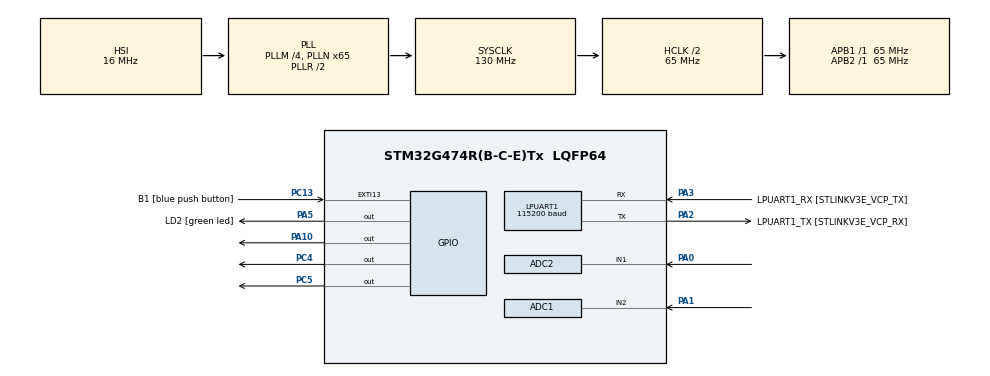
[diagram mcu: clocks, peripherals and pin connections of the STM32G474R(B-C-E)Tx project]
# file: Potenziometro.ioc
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ADC1.Channel-0\#ChannelRegularConversion=ADC_CHANNEL_2
ADC1.NbrOfConversionFlag=1
ADC1.OffsetNumber-0\#ChannelRegularConversion=ADC_OFFSET_NONE
ADC1.Rank-0\#ChannelRegularConversion=1
ADC1.SamplingTime-0\#ChannelRegularConversion=ADC_SAMPLETIME_2CYCLES_5
ADC1.master=1
ADC2.Channel-1\#ChannelRegularConversion=ADC_CHANNEL_1
ADC2.NbrOfConversionFlag=1
ADC2.OffsetNumber-1\#ChannelRegularConversion=ADC_OFFSET_NONE
ADC2.Rank-1\#ChannelRegularConversion=1
ADC2.SamplingTime-1\#ChannelRegularConversion=ADC_SAMPLETIME_2CYCLES_5
LPUART1.BaudRate=115200
LPUART1.WordLength=UART_WORDLENGTH_8B
Mcu.Family=STM32G4
Mcu.Name=STM32G474R(B-C-E)Tx
Mcu.Package=LQFP64
NVIC.EXTI15_10_IRQn=true\:0\:0\:false\:false\:true\:true\:true\:true
NVIC.PriorityGroup=NVIC_PRIORITYGROUP_4
NVIC.TIM1_TRG_COM_TIM17_IRQn=true\:0\:0\:false\:false\:true\:true\:true\:true
NVIC.TIM1_UP_TIM16_IRQn=true\:0\:0\:false\:false\:true\:true\:true\:true
PA0.Mode=IN1-Single-Ended
PA0.Signal=ADC2_IN1
PA1.Mode=IN2-Single-Ended
PA1.Signal=ADC1_IN2
PA10.Signal=GPIO_Output
PA13.GPIO_Label=T_SWDIO
PA13.Mode=Serial_Wire
PA13.Signal=SYS_JTMS-SWDIO
PA14.GPIO_Label=T_SWCLK
PA14.Mode=Serial_Wire
PA14.Signal=SYS_JTCK-SWCLK
PA2.GPIO_Label=LPUART1_TX [STLINKV3E_VCP_RX]
PA2.Mode=Asynchronous
PA2.Signal=LPUART1_TX
PA3.GPIO_Label=LPUART1_RX [STLINKV3E_VCP_TX]
PA3.Mode=Asynchronous
PA3.Signal=LPUART1_RX
PA5.GPIO_Label=LD2 [green led]
PA5.Signal=GPIO_Output
PB3.GPIO_Label=T_SWO
PB3.Signal=SYS_JTDO-SWO
PC13.GPIO_Label=B1 [blue push button]
PC13.Signal=GPXTI13
PC14-OSC32_IN.Mode=LSE-External-Oscillator
PC14-OSC32_IN.Signal=RCC_OSC32_IN
PC15-OSC32_OUT.Mode=LSE-External-Oscillator
PC15-OSC32_OUT.Signal=RCC_OSC32_OUT
PC4.Signal=GPIO_Output
PC5.Signal=GPIO_Output
PF0-OSC_IN.Mode=HSE-External-Oscillator
PF0-OSC_IN.Signal=RCC_OSC_IN
PF1-OSC_OUT.Mode=HSE-External-Oscillator
PF1-OSC_OUT.Signal=RCC_OSC_OUT
ProjectManager.HeapSize=0x200
ProjectManager.StackSize=0x400
ProjectManager.TargetToolchain=STM32CubeIDE
RCC.ADC12Freq_Value=130000000
RCC.ADC345Freq_Value=130000000
RCC.AHBCLKDivider=RCC_SYSCLK_DIV2
RCC.AHBFreq_Value=65000000
RCC.APB1Freq_Value=65000000
RCC.APB1TimFreq_Value=65000000
RCC.APB2Freq_Value=65000000
RCC.APB2TimFreq_Value=65000000
RCC.CortexFreq_Value=65000000
RCC.EXTERNAL_CLOCK_VALUE=12288000
RCC.HCLKFreq_Value=65000000
RCC.HSE_VALUE=24000000
RCC.HSI48_VALUE=48000000
RCC.HSI_VALUE=16000000
RCC.PLLM=RCC_PLLM_DIV4
RCC.PLLN=65
RCC.RTCClockSelection=RCC_RTCCLKSOURCE_LSE
RCC.SYSCLKFreq_VALUE=130000000
RCC.SYSCLKSource=RCC_SYSCLKSOURCE_PLLCLK
RCC.USBFreq_Value=130000000
RCC.VCOOutputFreq_Value=260000000
TIM16.PeriodNoDither=349
TIM16.Prescaler=64999
TIM17.PeriodNoDither=199
TIM17.Prescaler=64999
VP_SYS_VS_DBSignals.Mode=DisableDeadBatterySignals
VP_TIM16_VS_ClockSourceINT.Mode=Enable_Timer
VP_TIM17_VS_ClockSourceINT.Mode=Enable_Timer
board=NUCLEO-G474RE

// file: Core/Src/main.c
/* USER CODE BEGIN Header */
/**
 ******************************************************************************
 * @file           : main.c
 * @brief          : Main program body
 ******************************************************************************
 * @attention
 *
 * Copyright (c) 2022 STMicroelectronics.
 * All rights reserved.
 *
 * This software is licensed under terms that can be found in the LICENSE file
 * in the root directory of this software component.
 * If no LICENSE file comes with this software, it is provided AS-IS.
 *
 ******************************************************************************
 */
/* USER CODE END Header */
#include "main.h"
#include <stdio.h>
#include <string.h>

ADC_HandleTypeDef hadc1;
ADC_HandleTypeDef hadc2;

UART_HandleTypeDef hlpuart1;

TIM_HandleTypeDef htim16;
TIM_HandleTypeDef htim17;

/* USER CODE BEGIN PV */
uint16_t interrupt = 2;
uint16_t sensorCount = 2;
uint16_t voltageCount = 2;
enum VoltageState {
	UNKNOWN, OVERVOLTAGE, UNDERVOLTAGE, SAFESTATE,
};
enum VoltageState currState = UNKNOWN;

/* USER CODE END PV */

void SystemClock_Config(void);
static void MX_GPIO_Init(void);
static void MX_LPUART1_UART_Init(void);
static void MX_ADC1_Init(void);
static void MX_TIM16_Init(void);
static void MX_ADC2_Init(void);
static void MX_TIM17_Init(void);
/* USER CODE BEGIN PFP */
void sensor();
void unknown();
void safestate();
void undervoltage();
void overvoltage();
/* USER CODE END PFP */

int main(void) {
	/* USER CODE BEGIN 1 */
	uint8_t MSG4[] =
			"Board in waiting state - please press the emergency button\r\n";
	/* USER CODE END 1 */

	/* MCU Configuration--------------------------------------------------------*/

	/* Reset of all peripherals, Initializes the Flash interface and the Systick. */
	HAL_Init();

	/* Configure the system clock */
	SystemClock_Config();

	/* Initialize all configured peripherals */
	MX_GPIO_Init();
	MX_LPUART1_UART_Init();
	MX_ADC1_Init();
	MX_TIM16_Init();
	MX_ADC2_Init();
	MX_TIM17_Init();
	/* USER CODE BEGIN 2 */
	HAL_TIM_Base_Start_IT(&htim16);
	HAL_TIM_Base_Start_IT(&htim17);

	/* USER CODE END 2 */

	/* Infinite loop */
	while (1) {

		/* USER CODE BEGIN 3 */

		// Waiting state
		if (interrupt % 2 != (uint16_t) 0) {
			HAL_GPIO_WritePin(GPIOC, GPIO_PIN_4, GPIO_PIN_RESET);
			HAL_GPIO_WritePin(GPIOC, GPIO_PIN_5, GPIO_PIN_RESET);
			HAL_UART_Transmit(&hlpuart1, MSG4, sizeof(MSG4), 1000);
			HAL_Delay(500);
		}
		// Running state
		switch (currState) {
		case UNKNOWN:
			unknown();
			break;
		case SAFESTATE:
			safestate();
			break;
		case UNDERVOLTAGE:
			undervoltage();
			break;
		case OVERVOLTAGE:
			overvoltage();
			break;
		}
		sensor();
	}
}
/* USER CODE END 3 */

void SystemClock_Config(void) {
	RCC_OscInitTypeDef RCC_OscInitStruct = { 0 };
	RCC_ClkInitTypeDef RCC_ClkInitStruct = { 0 };

	/** Configure the main internal regulator output voltage
	 */
	HAL_PWREx_ControlVoltageScaling(PWR_REGULATOR_VOLTAGE_SCALE1);

	/** Initializes the RCC Oscillators according to the specified parameters
	 * in the RCC_OscInitTypeDef structure.
	 */
	RCC_OscInitStruct.OscillatorType = RCC_OSCILLATORTYPE_HSI;
	RCC_OscInitStruct.HSIState = RCC_HSI_ON;
	RCC_OscInitStruct.HSICalibrationValue = RCC_HSICALIBRATION_DEFAULT;
	RCC_OscInitStruct.PLL.PLLState = RCC_PLL_ON;
	RCC_OscInitStruct.PLL.PLLSource = RCC_PLLSOURCE_HSI;
	RCC_OscInitStruct.PLL.PLLM = RCC_PLLM_DIV4;
	RCC_OscInitStruct.PLL.PLLN = 65;
	RCC_OscInitStruct.PLL.PLLP = RCC_PLLP_DIV2;
	RCC_OscInitStruct.PLL.PLLQ = RCC_PLLQ_DIV2;
	RCC_OscInitStruct.PLL.PLLR = RCC_PLLR_DIV2;
	if (HAL_RCC_OscConfig(&RCC_OscInitStruct) != HAL_OK) {
		Error_Handler();
	}

	/** Initializes the CPU, AHB and APB buses clocks
	 */
	RCC_ClkInitStruct.ClockType = RCC_CLOCKTYPE_HCLK | RCC_CLOCKTYPE_SYSCLK
			| RCC_CLOCKTYPE_PCLK1 | RCC_CLOCKTYPE_PCLK2;
	RCC_ClkInitStruct.SYSCLKSource = RCC_SYSCLKSOURCE_PLLCLK;
	RCC_ClkInitStruct.AHBCLKDivider = RCC_SYSCLK_DIV2;
	RCC_ClkInitStruct.APB1CLKDivider = RCC_HCLK_DIV1;
	RCC_ClkInitStruct.APB2CLKDivider = RCC_HCLK_DIV1;

	if (HAL_RCC_ClockConfig(&RCC_ClkInitStruct, FLASH_LATENCY_2) != HAL_OK) {
		Error_Handler();
	}
}

static void MX_ADC1_Init(void) {

	ADC_MultiModeTypeDef multimode = { 0 };
	ADC_ChannelConfTypeDef sConfig = { 0 };

	/** Common config
	 */
	hadc1.Instance = ADC1;
	hadc1.Init.ClockPrescaler = ADC_CLOCK_SYNC_PCLK_DIV2;
	hadc1.Init.Resolution = ADC_RESOLUTION_12B;
	hadc1.Init.DataAlign = ADC_DATAALIGN_RIGHT;
	hadc1.Init.GainCompensation = 0;
	hadc1.Init.ScanConvMode = ADC_SCAN_DISABLE;
	hadc1.Init.EOCSelection = ADC_EOC_SINGLE_CONV;
	hadc1.Init.LowPowerAutoWait = DISABLE;
	hadc1.Init.ContinuousConvMode = DISABLE;
	hadc1.Init.NbrOfConversion = 1;
	hadc1.Init.DiscontinuousConvMode = DISABLE;
	hadc1.Init.ExternalTrigConv = ADC_SOFTWARE_START;
	hadc1.Init.ExternalTrigConvEdge = ADC_EXTERNALTRIGCONVEDGE_NONE;
	hadc1.Init.DMAContinuousRequests = DISABLE;
	hadc1.Init.Overrun = ADC_OVR_DATA_PRESERVED;
	hadc1.Init.OversamplingMode = DISABLE;
	if (HAL_ADC_Init(&hadc1) != HAL_OK) {
		Error_Handler();
	}

	/** Configure the ADC multi-mode
	 */
	multimode.Mode = ADC_MODE_INDEPENDENT;
	if (HAL_ADCEx_MultiModeConfigChannel(&hadc1, &multimode) != HAL_OK) {
		Error_Handler();
	}

	/** Configure Regular Channel
	 */
	sConfig.Channel = ADC_CHANNEL_2;
	sConfig.Rank = ADC_REGULAR_RANK_1;
	sConfig.SamplingTime = ADC_SAMPLETIME_2CYCLES_5;
	sConfig.SingleDiff = ADC_SINGLE_ENDED;
	sConfig.OffsetNumber = ADC_OFFSET_NONE;
	sConfig.Offset = 0;
	if (HAL_ADC_ConfigChannel(&hadc1, &sConfig) != HAL_OK) {
		Error_Handler();
	}

}

static void MX_ADC2_Init(void) {

	ADC_ChannelConfTypeDef sConfig = { 0 };

	/** Common config
	 */
	hadc2.Instance = ADC2;
	hadc2.Init.ClockPrescaler = ADC_CLOCK_SYNC_PCLK_DIV2;
	hadc2.Init.Resolution = ADC_RESOLUTION_12B;
	hadc2.Init.DataAlign = ADC_DATAALIGN_RIGHT;
	hadc2.Init.GainCompensation = 0;
	hadc2.Init.ScanConvMode = ADC_SCAN_DISABLE;
	hadc2.Init.EOCSelection = ADC_EOC_SINGLE_CONV;
	hadc2.Init.LowPowerAutoWait = DISABLE;
	hadc2.Init.ContinuousConvMode = DISABLE;
	hadc2.Init.NbrOfConversion = 1;
	hadc2.Init.DiscontinuousConvMode = DISABLE;
	hadc2.Init.ExternalTrigConv = ADC_SOFTWARE_START;
	hadc2.Init.ExternalTrigConvEdge = ADC_EXTERNALTRIGCONVEDGE_NONE;
	hadc2.Init.DMAContinuousRequests = DISABLE;
	hadc2.Init.Overrun = ADC_OVR_DATA_PRESERVED;
	hadc2.Init.OversamplingMode = DISABLE;
	if (HAL_ADC_Init(&hadc2) != HAL_OK) {
		Error_Handler();
	}

	/** Configure Regular Channel
	 */
	sConfig.Channel = ADC_CHANNEL_1;
	sConfig.Rank = ADC_REGULAR_RANK_1;
	sConfig.SamplingTime = ADC_SAMPLETIME_2CYCLES_5;
	sConfig.SingleDiff = ADC_SINGLE_ENDED;
	sConfig.OffsetNumber = ADC_OFFSET_NONE;
	sConfig.Offset = 0;
	if (HAL_ADC_ConfigChannel(&hadc2, &sConfig) != HAL_OK) {
		Error_Handler();
	}

}

static void MX_LPUART1_UART_Init(void) {

	hlpuart1.Instance = LPUART1;
	hlpuart1.Init.BaudRate = 115200;
	hlpuart1.Init.WordLength = UART_WORDLENGTH_8B;
	hlpuart1.Init.StopBits = UART_STOPBITS_1;
	hlpuart1.Init.Parity = UART_PARITY_NONE;
	hlpuart1.Init.Mode = UART_MODE_TX_RX;
	hlpuart1.Init.HwFlowCtl = UART_HWCONTROL_NONE;
	hlpuart1.Init.OneBitSampling = UART_ONE_BIT_SAMPLE_DISABLE;
	hlpuart1.Init.ClockPrescaler = UART_PRESCALER_DIV1;
	hlpuart1.AdvancedInit.AdvFeatureInit = UART_ADVFEATURE_NO_INIT;
	if (HAL_UART_Init(&hlpuart1) != HAL_OK) {
		Error_Handler();
	}
	if (HAL_UARTEx_SetTxFifoThreshold(&hlpuart1, UART_TXFIFO_THRESHOLD_1_8)
			!= HAL_OK) {
		Error_Handler();
	}
	if (HAL_UARTEx_SetRxFifoThreshold(&hlpuart1, UART_RXFIFO_THRESHOLD_1_8)
			!= HAL_OK) {
		Error_Handler();
	}
	if (HAL_UARTEx_DisableFifoMode(&hlpuart1) != HAL_OK) {
		Error_Handler();
	}

}

static void MX_TIM16_Init(void) {

	htim16.Instance = TIM16;
	htim16.Init.Prescaler = 64999;
	htim16.Init.CounterMode = TIM_COUNTERMODE_UP;
	htim16.Init.Period = 349;
	htim16.Init.ClockDivision = TIM_CLOCKDIVISION_DIV1;
	htim16.Init.RepetitionCounter = 0;
	htim16.Init.AutoReloadPreload = TIM_AUTORELOAD_PRELOAD_DISABLE;
	if (HAL_TIM_Base_Init(&htim16) != HAL_OK) {
		Error_Handler();
	}

}

static void MX_TIM17_Init(void) {

	htim17.Instance = TIM17;
	htim17.Init.Prescaler = 64999;
	htim17.Init.CounterMode = TIM_COUNTERMODE_UP;
	htim17.Init.Period = 199;
	htim17.Init.ClockDivision = TIM_CLOCKDIVISION_DIV1;
	htim17.Init.RepetitionCounter = 0;
	htim17.Init.AutoReloadPreload = TIM_AUTORELOAD_PRELOAD_DISABLE;
	if (HAL_TIM_Base_Init(&htim17) != HAL_OK) {
		Error_Handler();
	}

}

static void MX_GPIO_Init(void) {
	GPIO_InitTypeDef GPIO_InitStruct = { 0 };

	/* GPIO Ports Clock Enable */
	__HAL_RCC_GPIOC_CLK_ENABLE();
	__HAL_RCC_GPIOF_CLK_ENABLE();
	__HAL_RCC_GPIOA_CLK_ENABLE();
	__HAL_RCC_GPIOB_CLK_ENABLE();

	/*Configure GPIO pin Output Level */
	HAL_GPIO_WritePin(GPIOA, LD2_Pin | GPIO_PIN_10, GPIO_PIN_RESET);

	/*Configure GPIO pin Output Level */
	HAL_GPIO_WritePin(GPIOC, GPIO_PIN_4 | GPIO_PIN_5, GPIO_PIN_RESET);

	/*Configure GPIO pin : B1_Pin */
	GPIO_InitStruct.Pin = B1_Pin;
	GPIO_InitStruct.Mode = GPIO_MODE_IT_RISING;
	GPIO_InitStruct.Pull = GPIO_NOPULL;
	HAL_GPIO_Init(B1_GPIO_Port, &GPIO_InitStruct);

	/*Configure GPIO pins : LD2_Pin PA10 */
	GPIO_InitStruct.Pin = LD2_Pin | GPIO_PIN_10;
	GPIO_InitStruct.Mode = GPIO_MODE_OUTPUT_PP;
	GPIO_InitStruct.Pull = GPIO_NOPULL;
	GPIO_InitStruct.Speed = GPIO_SPEED_FREQ_LOW;
	HAL_GPIO_Init(GPIOA, &GPIO_InitStruct);

	/*Configure GPIO pins : PC4 PC5 */
	GPIO_InitStruct.Pin = GPIO_PIN_4 | GPIO_PIN_5;
	GPIO_InitStruct.Mode = GPIO_MODE_OUTPUT_PP;
	GPIO_InitStruct.Pull = GPIO_NOPULL;
	GPIO_InitStruct.Speed = GPIO_SPEED_FREQ_LOW;
	HAL_GPIO_Init(GPIOC, &GPIO_InitStruct);

	/* EXTI interrupt init*/
	HAL_NVIC_SetPriority(EXTI15_10_IRQn, 0, 0);
	HAL_NVIC_EnableIRQ(EXTI15_10_IRQn);

}

/* USER CODE BEGIN 4 */
uint8_t MSG1[] = "Warning!: Undervoltage (Led 4 ON) \r\n";
uint8_t MSG2[] = "Warning!: Overvoltage (Led 5 ON) \r\n";
uint8_t MSG3[] = "Warning!: Sensor value out of range \r\n";
char msg[50];
char msg2[50];
uint16_t led_time = 0;
void unknown() {
	// Check voltage every 350ms
	if (voltageCount % 2 != (uint16_t) 0) {
		voltageCount++;
		HAL_ADC_Start(&hadc1);
		// Poll ADC1 Perihperal
		HAL_ADC_PollForConversion(&hadc1, 200);
		// Read The ADC potentiometer value
		uint16_t rawVoltage = HAL_ADC_GetValue(&hadc1);
		float valueVoltage = (rawVoltage * 3.3) / 4096;
		sprintf(msg2, "(%lu) System Voltage: %f\r\n", HAL_GetTick() / 10,
				valueVoltage);
		HAL_UART_Transmit(&hlpuart1, (uint8_t*) msg2, strlen(msg2), 1000);

		if (valueVoltage < 2.7 && valueVoltage > 1.8) {

			currState = SAFESTATE;

		}
		if (valueVoltage <= 1.8) {
			HAL_UART_Transmit(&hlpuart1, MSG1, sizeof(MSG1), 1000);
			currState = UNDERVOLTAGE;

		}
		if (valueVoltage >= 2.7) {
			HAL_UART_Transmit(&hlpuart1, MSG2, sizeof(MSG2), 1000);
			currState = OVERVOLTAGE;
		}
	}
}
void safestate() {
	HAL_GPIO_WritePin(GPIOC, GPIO_PIN_4, GPIO_PIN_RESET);
	HAL_GPIO_WritePin(GPIOC, GPIO_PIN_5, GPIO_PIN_RESET);
	currState = UNKNOWN;
}
void undervoltage() {
	HAL_GPIO_WritePin(GPIOC, GPIO_PIN_4, GPIO_PIN_SET);
	HAL_GPIO_WritePin(GPIOC, GPIO_PIN_5, GPIO_PIN_RESET);
	currState = UNKNOWN;
}
void overvoltage() {
	HAL_GPIO_WritePin(GPIOC, GPIO_PIN_4, GPIO_PIN_RESET);
	HAL_GPIO_WritePin(GPIOC, GPIO_PIN_5, GPIO_PIN_SET);
	currState = UNKNOWN;
}
void sensor() {
	// Check sensor every 200ms
	if (sensorCount % 2 != (uint16_t) 0) {
		sensorCount++;
		HAL_ADC_Start(&hadc2);
		// Poll ADC2 Sensor
		HAL_ADC_PollForConversion(&hadc2, 200);
		// Read The ADC sensor value
		uint16_t rawSensor = HAL_ADC_GetValue(&hadc2);
		float valueSensor = (rawSensor * 3.3) / 4096.0;
		float Magneticvalue = (valueSensor - (3.3 / 2.0));
		Magneticvalue = (Magneticvalue * 1000) / 1.6;
		if (Magneticvalue > -1000 && Magneticvalue < 1000) {
			sprintf(msg, "(%lu) Magnetic field: %f\r\n", HAL_GetTick() / 10,
					Magneticvalue);
			HAL_UART_Transmit(&hlpuart1, (uint8_t*) msg, strlen(msg), 1000);
		} else
			HAL_UART_Transmit(&hlpuart1, MSG3, sizeof(MSG3), 1000);
	}
}
void HAL_GPIO_EXTI_Callback(uint16_t GPIO_Pin) {
	if (GPIO_Pin == B1_Pin) {
		// Counter of User button
		interrupt++;
	}
}
void HAL_TIM_PeriodElapsedCallback(TIM_HandleTypeDef *htim) {
	if (interrupt % 2 == (uint16_t) 0) {
		if (htim == &htim17) {
			// Check sensor every 200ms
			sensorCount++;
		}
		if (htim == &htim16) {
			// Check voltage every 350ms
			voltageCount++;
		}
	}
}

/* USER CODE END 4 */

void Error_Handler(void) {
	__disable_irq();
	while (1) {
	}
}
